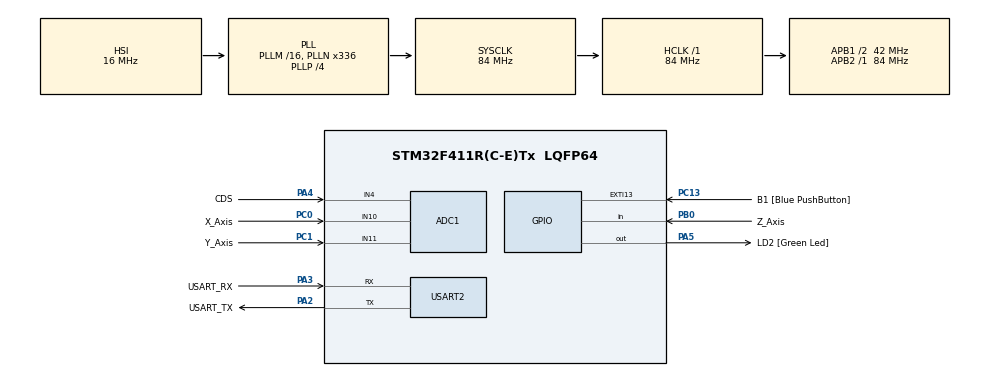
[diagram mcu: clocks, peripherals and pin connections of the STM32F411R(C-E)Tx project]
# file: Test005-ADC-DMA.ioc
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ADC1.Channel-0\#ChannelRegularConversion=ADC_CHANNEL_10
ADC1.Channel-2\#ChannelRegularConversion=ADC_CHANNEL_11
ADC1.Channel-3\#ChannelRegularConversion=ADC_CHANNEL_4
ADC1.ContinuousConvMode=DISABLE
ADC1.DMAContinuousRequests=ENABLE
ADC1.DiscontinuousConvMode=ENABLE
ADC1.EOCSelection=ADC_EOC_SEQ_CONV
ADC1.EnableAnalogWatchDog=false
ADC1.ExternalTrigConv=ADC_EXTERNALTRIGCONV_T3_TRGO
ADC1.NbrOfConversion=3
ADC1.NbrOfConversionFlag=1
ADC1.Rank-0\#ChannelRegularConversion=1
ADC1.Rank-2\#ChannelRegularConversion=2
ADC1.Rank-3\#ChannelRegularConversion=3
ADC1.SamplingTime-0\#ChannelRegularConversion=ADC_SAMPLETIME_3CYCLES
ADC1.SamplingTime-2\#ChannelRegularConversion=ADC_SAMPLETIME_3CYCLES
ADC1.SamplingTime-3\#ChannelRegularConversion=ADC_SAMPLETIME_3CYCLES
ADC1.ScanConvMode=ENABLE
ADC1.master=1
Dma.ADC1.0.Direction=DMA_PERIPH_TO_MEMORY
Dma.ADC1.0.FIFOMode=DMA_FIFOMODE_DISABLE
Dma.ADC1.0.Instance=DMA2_Stream0
Dma.ADC1.0.MemDataAlignment=DMA_MDATAALIGN_HALFWORD
Dma.ADC1.0.MemInc=DMA_MINC_ENABLE
Dma.ADC1.0.Mode=DMA_CIRCULAR
Dma.ADC1.0.PeriphDataAlignment=DMA_PDATAALIGN_HALFWORD
Dma.ADC1.0.PeriphInc=DMA_PINC_DISABLE
Dma.ADC1.0.Priority=DMA_PRIORITY_LOW
Dma.Request0=ADC1
Mcu.Family=STM32F4
Mcu.Name=STM32F411R(C-E)Tx
Mcu.Package=LQFP64
NVIC.ADC_IRQn=true\:0\:0\:false\:false\:true\:true\:true\:true
NVIC.DMA2_Stream0_IRQn=true\:0\:0\:false\:false\:true\:false\:true\:true
NVIC.EXTI15_10_IRQn=true\:0\:0\:false\:false\:true\:true\:true\:true
NVIC.PriorityGroup=NVIC_PRIORITYGROUP_0
PA13.GPIO_Label=TMS
PA13.Mode=Serial_Wire
PA13.Signal=SYS_JTMS-SWDIO
PA14.GPIO_Label=TCK
PA14.Mode=Serial_Wire
PA14.Signal=SYS_JTCK-SWCLK
PA2.GPIO_Label=USART_TX
PA2.Mode=Asynchronous
PA2.Signal=USART2_TX
PA3.GPIO_Label=USART_RX
PA3.Mode=Asynchronous
PA3.Signal=USART2_RX
PA4.GPIO_Label=CDS
PA4.Signal=ADCx_IN4
PA5.GPIO_Label=LD2 [Green Led]
PA5.Signal=GPIO_Output
PB0.GPIO_Label=Z_Axis
PB0.GPIO_PuPd=GPIO_PULLUP
PB0.Signal=GPIO_Input
PB3.GPIO_Label=SWO
PB3.Signal=SYS_JTDO-SWO
PC0.GPIO_Label=X_Axis
PC0.Signal=ADCx_IN10
PC1.GPIO_Label=Y_Axis
PC1.Signal=ADCx_IN11
PC13-ANTI_TAMP.GPIO_Label=B1 [Blue PushButton]
PC13-ANTI_TAMP.GPIO_ModeDefaultEXTI=GPIO_MODE_IT_FALLING
PC13-ANTI_TAMP.Signal=GPXTI13
PC14-OSC32_IN.Mode=LSE-External-Oscillator
PC14-OSC32_IN.Signal=RCC_OSC32_IN
PC15-OSC32_OUT.Mode=LSE-External-Oscillator
PC15-OSC32_OUT.Signal=RCC_OSC32_OUT
PH0\ -\ OSC_IN.Mode=HSE-External-Clock-Source
PH0\ -\ OSC_IN.Signal=RCC_OSC_IN
PH1\ -\ OSC_OUT.Mode=HSE-External-Clock-Source
PH1\ -\ OSC_OUT.Signal=RCC_OSC_OUT
ProjectManager.HeapSize=0x200
ProjectManager.StackSize=0x400
ProjectManager.TargetToolchain=STM32CubeIDE
RCC.48MHZClocksFreq_Value=84000000
RCC.AHBFreq_Value=84000000
RCC.APB1CLKDivider=RCC_HCLK_DIV2
RCC.APB1Freq_Value=42000000
RCC.APB1TimFreq_Value=84000000
RCC.APB2Freq_Value=84000000
RCC.APB2TimFreq_Value=84000000
RCC.CortexFreq_Value=84000000
RCC.FLatency-AdvancedSettings=FLASH_LATENCY_2
RCC.HCLKFreq_Value=84000000
RCC.HSE_VALUE=8000000
RCC.HSI_VALUE=16000000
RCC.PLLN=336
RCC.PLLP=RCC_PLLP_DIV4
RCC.SYSCLKFreq_VALUE=84000000
RCC.SYSCLKSource=RCC_SYSCLKSOURCE_PLLCLK
RCC.VCOOutputFreq_Value=336000000
SH.ADCx_IN10.0=ADC1_IN10,IN10
SH.ADCx_IN11.0=ADC1_IN11,IN11
SH.ADCx_IN4.0=ADC1_IN4,IN4
TIM3.Period=1000-1
TIM3.Prescaler=8400-1
TIM3.TIM_MasterOutputTrigger=TIM_TRGO_UPDATE
USART2.VirtualMode=VM_ASYNC
VP_TIM3_VS_ClockSourceINT.Mode=Internal
board=NUCLEO-F411RE

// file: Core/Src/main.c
/* USER CODE BEGIN Header */
/**
  ******************************************************************************
  * @file           : main.c
  * @brief          : Main program body
  ******************************************************************************
  * @attention
  *
  * Copyright (c) 2024 STMicroelectronics.
  * All rights reserved.
  *
  * This software is licensed under terms that can be found in the LICENSE file
  * in the root directory of this software component.
  * If no LICENSE file comes with this software, it is provided AS-IS.
  *
  ******************************************************************************
  */
/* USER CODE END Header */
#include "main.h"

ADC_HandleTypeDef hadc1;
DMA_HandleTypeDef hdma_adc1;

TIM_HandleTypeDef htim3;

UART_HandleTypeDef huart2;

void SystemClock_Config(void);
static void MX_GPIO_Init(void);
static void MX_DMA_Init(void);
static void MX_USART2_UART_Init(void);
static void MX_ADC1_Init(void);
static void MX_TIM3_Init(void);

/* USER CODE BEGIN 0 */
union
{
	char 	v0[500];
	short 	v1[10];
	int 	v2[20];
	long 	v3[10];
} buf;
void HAL_ADC_ConvCpltCallback(ADC_HandleTypeDef *hadc)
{

}
int Mode = 0; // ---- Normal Mode
void HAL_GPIO_EXTI_Callback(uint16_t GPIO_Pin)
{
	if(++Mode > 5) Mode = 1;
	cls(); // Terminal screen clear
}
/* USER CODE END 0 */

int main(void)
{

  /* MCU Configuration--------------------------------------------------------*/

  /* Reset of all peripherals, Initializes the Flash interface and the Systick. */
  HAL_Init();

  /* Configure the system clock */
  SystemClock_Config();

  /* Initialize all configured peripherals */
  MX_GPIO_Init();
  MX_DMA_Init();
  MX_USART2_UART_Init();
  MX_ADC1_Init();
  MX_TIM3_Init();
  /* USER CODE BEGIN 2 */

  ProgramStart("ADC - DMA");
  HAL_TIM_Base_Start(&htim3);
  HAL_ADC_Start_DMA(&hadc1, &buf, 3);
  /* USER CODE END 2 */

  /* Infinite loop */
  /* USER CODE BEGIN WHILE */
  int lm = 1;
  while (1)
  {
    /* USER CODE END WHILE */

    /* USER CODE BEGIN 3 */
	  switch(Mode)
	  {
	  case 1:
		  if(lm != Mode) {cls(); lm = Mode; }
		  int z = HAL_GPIO_ReadPin(Z_Axis_GPIO_Port,Z_Axis_Pin);
		  //printf("\033[4;0HP(%d,%d,%d):%d    \n", val[0], val[1], z, val[2]);
		  printf("\033[4;0HP(%d,%d,%d):%d    \n", buf.v1[0], buf.v1[1], z, buf.v1[2]);
		  break;
	  case 2: // Byte dump
		  if(lm != Mode) {cls(); lm = Mode; }
		  printf("Memory dump mode\r\n");
		  printf("\033[3;0H\n");
		  for(int i = 0; i<20; i++) // ROW index
		  {
			  for(int j = 0; j<16; j++) // COLUMN index
			  {
				  printf("%02x ", buf.v0[(i*16)+j]);
				  if(j == 7) printf("  ");
			  }
			  printf("\r\n");
		  }
		  break;
	  case 3: // short dump
		  if(lm != Mode) {cls(); lm = Mode; }
		  printf("Short dump mode\r\n");
		  printf("\033[3;0H\n");
		  for(int i = 0; i<20; i++) // ROW index
		  {
			  for(int j = 0; j<8; j++) // COLUMN index
			  {
				  printf("%04x ", buf.v1[(i*8)+j]);
				  if(j == 3) printf("  ");
  			  }
			  printf("\r\n");
		  }
		  break;
	  case 4: // int dump
		  if(lm != Mode) {cls(); lm = Mode; }
		  printf("Int dump mode\r\n");
		  printf("\033[3;0H\n");
		  for(int i = 0; i<20; i++) // ROW index
		  {
			  for(int j = 0; j<4; j++) // COLUMN index
			  {
				  printf("%08x ", buf.v2[(i*4)+j]);
				  if(j == 1) printf("  ");
  			  }
			  printf("\r\n");
		  }
		  break;
	  case 5: // long dump
		  if(lm != Mode) {cls(); lm = Mode; }
		  printf("Long dump mode\r\n");
		  printf("\033[3;0H\n");
		  for(int i = 0; i<20; i++) // ROW index
		  {
			  for(int j = 0; j<4; j++) // COLUMN index
			  {
				  printf("%08X ", buf.v3[(i*4)+j]);
				  if(j == 1) printf("  ");
  			  }
			  printf("\r\n");
		  }
		  break;
	  }
  }
  /* USER CODE END 3 */
}

void SystemClock_Config(void)
{
  RCC_OscInitTypeDef RCC_OscInitStruct = {0};
  RCC_ClkInitTypeDef RCC_ClkInitStruct = {0};

  /** Configure the main internal regulator output voltage
  */
  __HAL_RCC_PWR_CLK_ENABLE();
  __HAL_PWR_VOLTAGESCALING_CONFIG(PWR_REGULATOR_VOLTAGE_SCALE1);

  /** Initializes the RCC Oscillators according to the specified parameters
  * in the RCC_OscInitTypeDef structure.
  */
  RCC_OscInitStruct.OscillatorType = RCC_OSCILLATORTYPE_HSI;
  RCC_OscInitStruct.HSIState = RCC_HSI_ON;
  RCC_OscInitStruct.HSICalibrationValue = RCC_HSICALIBRATION_DEFAULT;
  RCC_OscInitStruct.PLL.PLLState = RCC_PLL_ON;
  RCC_OscInitStruct.PLL.PLLSource = RCC_PLLSOURCE_HSI;
  RCC_OscInitStruct.PLL.PLLM = 16;
  RCC_OscInitStruct.PLL.PLLN = 336;
  RCC_OscInitStruct.PLL.PLLP = RCC_PLLP_DIV4;
  RCC_OscInitStruct.PLL.PLLQ = 4;
  if (HAL_RCC_OscConfig(&RCC_OscInitStruct) != HAL_OK)
  {
    Error_Handler();
  }

  /** Initializes the CPU, AHB and APB buses clocks
  */
  RCC_ClkInitStruct.ClockType = RCC_CLOCKTYPE_HCLK|RCC_CLOCKTYPE_SYSCLK
                              |RCC_CLOCKTYPE_PCLK1|RCC_CLOCKTYPE_PCLK2;
  RCC_ClkInitStruct.SYSCLKSource = RCC_SYSCLKSOURCE_PLLCLK;
  RCC_ClkInitStruct.AHBCLKDivider = RCC_SYSCLK_DIV1;
  RCC_ClkInitStruct.APB1CLKDivider = RCC_HCLK_DIV2;
  RCC_ClkInitStruct.APB2CLKDivider = RCC_HCLK_DIV1;

  if (HAL_RCC_ClockConfig(&RCC_ClkInitStruct, FLASH_LATENCY_2) != HAL_OK)
  {
    Error_Handler();
  }
}

static void MX_ADC1_Init(void)
{

  ADC_ChannelConfTypeDef sConfig = {0};

  /** Configure the global features of the ADC (Clock, Resolution, Data Alignment and number of conversion)
  */
  hadc1.Instance = ADC1;
  hadc1.Init.ClockPrescaler = ADC_CLOCK_SYNC_PCLK_DIV4;
  hadc1.Init.Resolution = ADC_RESOLUTION_12B;
  hadc1.Init.ScanConvMode = ENABLE;
  hadc1.Init.ContinuousConvMode = DISABLE;
  hadc1.Init.DiscontinuousConvMode = ENABLE;
  hadc1.Init.NbrOfDiscConversion = 1;
  hadc1.Init.ExternalTrigConvEdge = ADC_EXTERNALTRIGCONVEDGE_RISING;
  hadc1.Init.ExternalTrigConv = ADC_EXTERNALTRIGCONV_T3_TRGO;
  hadc1.Init.DataAlign = ADC_DATAALIGN_RIGHT;
  hadc1.Init.NbrOfConversion = 3;
  hadc1.Init.DMAContinuousRequests = ENABLE;
  hadc1.Init.EOCSelection = ADC_EOC_SEQ_CONV;
  if (HAL_ADC_Init(&hadc1) != HAL_OK)
  {
    Error_Handler();
  }

  /** Configure for the selected ADC regular channel its corresponding rank in the sequencer and its sample time.
  */
  sConfig.Channel = ADC_CHANNEL_10;
  sConfig.Rank = 1;
  sConfig.SamplingTime = ADC_SAMPLETIME_3CYCLES;
  if (HAL_ADC_ConfigChannel(&hadc1, &sConfig) != HAL_OK)
  {
    Error_Handler();
  }

  /** Configure for the selected ADC regular channel its corresponding rank in the sequencer and its sample time.
  */
  sConfig.Channel = ADC_CHANNEL_11;
  sConfig.Rank = 2;
  if (HAL_ADC_ConfigChannel(&hadc1, &sConfig) != HAL_OK)
  {
    Error_Handler();
  }

  /** Configure for the selected ADC regular channel its corresponding rank in the sequencer and its sample time.
  */
  sConfig.Channel = ADC_CHANNEL_4;
  sConfig.Rank = 3;
  if (HAL_ADC_ConfigChannel(&hadc1, &sConfig) != HAL_OK)
  {
    Error_Handler();
  }

}

static void MX_TIM3_Init(void)
{

  TIM_ClockConfigTypeDef sClockSourceConfig = {0};
  TIM_MasterConfigTypeDef sMasterConfig = {0};

  htim3.Instance = TIM3;
  htim3.Init.Prescaler = 8400-1;
  htim3.Init.CounterMode = TIM_COUNTERMODE_UP;
  htim3.Init.Period = 1000-1;
  htim3.Init.ClockDivision = TIM_CLOCKDIVISION_DIV1;
  htim3.Init.AutoReloadPreload = TIM_AUTORELOAD_PRELOAD_DISABLE;
  if (HAL_TIM_Base_Init(&htim3) != HAL_OK)
  {
    Error_Handler();
  }
  sClockSourceConfig.ClockSource = TIM_CLOCKSOURCE_INTERNAL;
  if (HAL_TIM_ConfigClockSource(&htim3, &sClockSourceConfig) != HAL_OK)
  {
    Error_Handler();
  }
  sMasterConfig.MasterOutputTrigger = TIM_TRGO_UPDATE;
  sMasterConfig.MasterSlaveMode = TIM_MASTERSLAVEMODE_DISABLE;
  if (HAL_TIMEx_MasterConfigSynchronization(&htim3, &sMasterConfig) != HAL_OK)
  {
    Error_Handler();
  }

}

static void MX_USART2_UART_Init(void)
{

  huart2.Instance = USART2;
  huart2.Init.BaudRate = 115200;
  huart2.Init.WordLength = UART_WORDLENGTH_8B;
  huart2.Init.StopBits = UART_STOPBITS_1;
  huart2.Init.Parity = UART_PARITY_NONE;
  huart2.Init.Mode = UART_MODE_TX_RX;
  huart2.Init.HwFlowCtl = UART_HWCONTROL_NONE;
  huart2.Init.OverSampling = UART_OVERSAMPLING_16;
  if (HAL_UART_Init(&huart2) != HAL_OK)
  {
    Error_Handler();
  }

}

static void MX_DMA_Init(void)
{

  /* DMA controller clock enable */
  __HAL_RCC_DMA2_CLK_ENABLE();

  /* DMA interrupt init */
  /* DMA2_Stream0_IRQn interrupt configuration */
  HAL_NVIC_SetPriority(DMA2_Stream0_IRQn, 0, 0);
  HAL_NVIC_EnableIRQ(DMA2_Stream0_IRQn);

}

static void MX_GPIO_Init(void)
{
  GPIO_InitTypeDef GPIO_InitStruct = {0};

  /* GPIO Ports Clock Enable */
  __HAL_RCC_GPIOC_CLK_ENABLE();
  __HAL_RCC_GPIOH_CLK_ENABLE();
  __HAL_RCC_GPIOA_CLK_ENABLE();
  __HAL_RCC_GPIOB_CLK_ENABLE();

  /*Configure GPIO pin Output Level */
  HAL_GPIO_WritePin(LD2_GPIO_Port, LD2_Pin, GPIO_PIN_RESET);

  /*Configure GPIO pin : B1_Pin */
  GPIO_InitStruct.Pin = B1_Pin;
  GPIO_InitStruct.Mode = GPIO_MODE_IT_FALLING;
  GPIO_InitStruct.Pull = GPIO_NOPULL;
  HAL_GPIO_Init(B1_GPIO_Port, &GPIO_InitStruct);

  /*Configure GPIO pin : LD2_Pin */
  GPIO_InitStruct.Pin = LD2_Pin;
  GPIO_InitStruct.Mode = GPIO_MODE_OUTPUT_PP;
  GPIO_InitStruct.Pull = GPIO_NOPULL;
  GPIO_InitStruct.Speed = GPIO_SPEED_FREQ_LOW;
  HAL_GPIO_Init(LD2_GPIO_Port, &GPIO_InitStruct);

  /*Configure GPIO pin : Z_Axis_Pin */
  GPIO_InitStruct.Pin = Z_Axis_Pin;
  GPIO_InitStruct.Mode = GPIO_MODE_INPUT;
  GPIO_InitStruct.Pull = GPIO_PULLUP;
  HAL_GPIO_Init(Z_Axis_GPIO_Port, &GPIO_InitStruct);

  /* EXTI interrupt init*/
  HAL_NVIC_SetPriority(EXTI15_10_IRQn, 0, 0);
  HAL_NVIC_EnableIRQ(EXTI15_10_IRQn);

}

void Error_Handler(void)
{
  __disable_irq();
  while (1)
  {
  }
}
